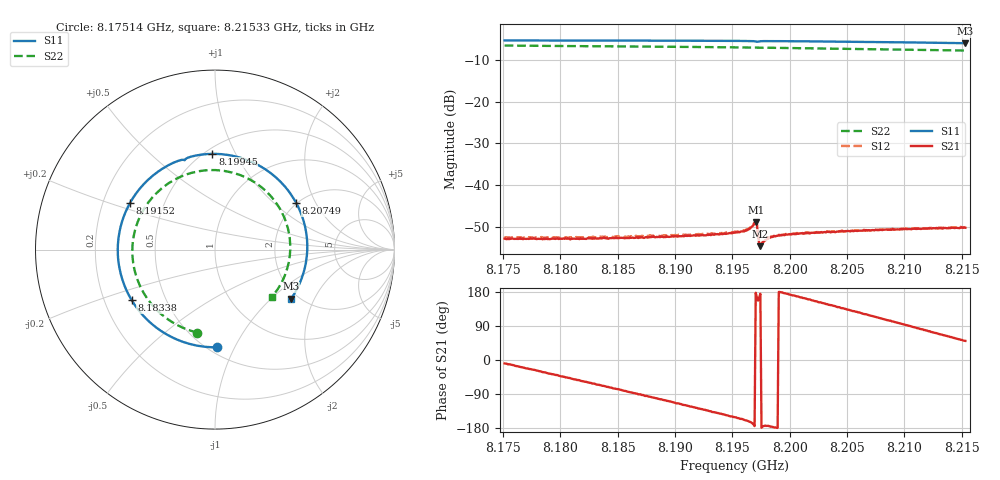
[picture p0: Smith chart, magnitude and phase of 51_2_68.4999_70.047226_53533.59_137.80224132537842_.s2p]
#  HZ  S  RI  R  50.00
! Rohde & Schwarz Vector Network Analyzer
! Rohde-Schwarz,ZNB20-2Port,1311601062101988,3.16
! Created: UTC 3/20/2024, 5:05:59 PM
! freq[Hz]  re:S11  im:S11  re:S21  im:S21  re:S12  im:S12  re:S22  im:S22
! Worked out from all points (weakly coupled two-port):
!   401 points, 8.17514 GHz to 8.21533 GHz, reference 50 ohm
!   highest |S21| = -48.95 dB at 8.19704 GHz (marker M1); lowest = -54.7 dB at 8.19744 GHz (marker M2)
!   lowest |S11| = -5.9 dB at 8.21533 GHz (marker M3), VSWR 3.04, Z = 91.7 - j67.3 ohm
!   |S11| at or under -10 dB: nowhere
!   |S22| runs from -7.7 to -6.5 dB; largest |S21 - S12| = 0.00016
!   S11 on the Smith chart (normalised r, x): 8.17514 GHz: 0.55, -0.85; 8.18338 GHz: 0.32, -0.25; 8.19152 GHz: 0.32, +0.23; 8.19945 GHz: 0.54, +0.81; 8.20749 GHz: 1.98, +1.41; 8.21533 GHz: 1.83, -1.35
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8.175139e9  0.00991 -0.5442  0.00223 -0.000355  0.00229 -0.000347  -0.0991 -0.4622
8.178454e9  -0.2121 -0.501  0.00188 -0.00118  0.00197 -0.00123  -0.2687 -0.384
8.18187e9  -0.4027 -0.3647  0.00127 -0.00186  0.00131 -0.00196  -0.3965 -0.243
8.183377e9  -0.4648 -0.2807  0.00094 -0.00206  0.000931 -0.00218  -0.4325 -0.1669
8.18599e9  -0.5307 -0.1122  0.000222 -0.00229  0.000191 -0.00238  -0.4602 -0.0248
8.188602e9  -0.5369 0.0694  -0.000525 -0.00232  -0.000601 -0.00237  -0.4426 0.1188
8.191516e9  -0.4723 0.2619  -0.00137 -0.00205  -0.00146 -0.00205  -0.3709 0.2634
8.195233e9  -0.2941 0.45  -0.00234 -0.00129  -0.00246 -0.00125  -0.2132 0.3959
8.196238e9  -0.2313 0.4841  -0.00266 -0.000987  -0.00278 -0.000896  -0.1613 0.4179
8.196942e9  -0.1814 0.5004  -0.00346 -0.00034  -0.00353 -0.000207  -0.1233 0.4294
8.197042e9  -0.174 0.4998  -0.00357 0.000166  -0.00362 0.000293  -0.1177 0.4308
8.197444e9  -0.1577 0.5087  -0.00183 0.000164  -0.00188 0.000213  -0.0959 0.4357
8.197544e9  -0.1506 0.5122  -0.0019 -4.43e-05  -0.00197 3e-05  -0.0903 0.4366
8.198449e9  -0.0862 0.5277  -0.00236 -0.000163  -0.0024 -8.84e-05  -0.0393 0.4426
8.199453e9  -0.0149 0.5334  -0.0025 0.000136  -0.00249 0.00025  0.0177 0.442
8.201965e9  0.1598 0.506  -0.00245 0.00103  -0.00242 0.00114  0.1565 0.4086
8.204578e9  0.3212 0.4176  -0.00202 0.0019  -0.00201 0.00199  0.2826 0.3269
8.207491e9  0.4527 0.2594  -0.00115 0.00264  -0.00108 0.00268  0.382 0.1882
8.208697e9  0.4869 0.1807  -0.000697 0.00282  -0.000632 0.00285  0.4057 0.1204
8.210305e9  0.5114 0.0688  -5.45e-05 0.00294  3.06e-05 0.00293  0.4191 0.0244
8.211912e9  0.5104 -0.0461  0.000629 0.00292  0.000657 0.00292  0.4104 -0.0733
8.215328e9  0.424 -0.2736  0.00195 0.00236  0.00204 0.00235  0.3172 -0.263
